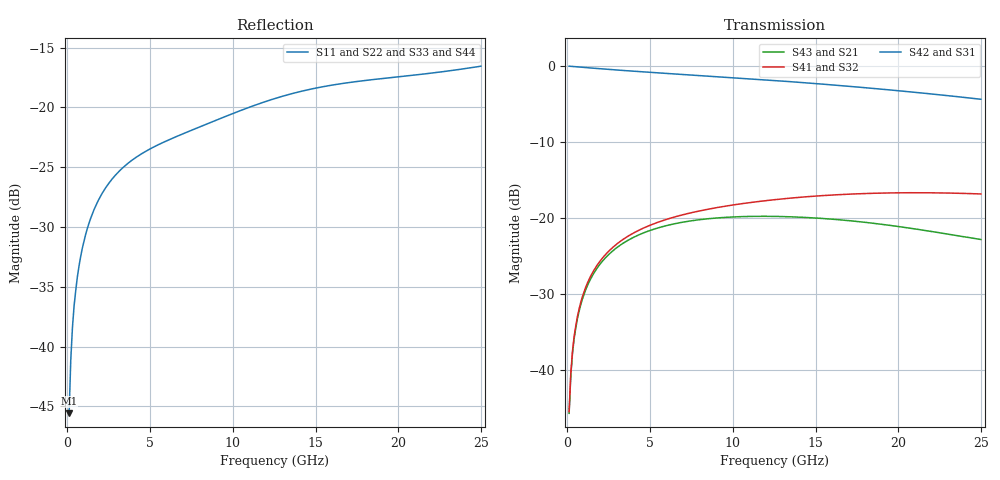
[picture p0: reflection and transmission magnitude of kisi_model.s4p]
! kisi E_s8_L1L8_p1000_oval_g0: fast channel model (formula impedances, via model), up to 25 GHz
# Hz S RI R 50
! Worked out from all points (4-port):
!   250 points, 100 MHz to 25 GHz, reference 50 ohm
!   strongest paths, dB at 100 MHz, 6.3 GHz, 12.6 GHz, 18.8 GHz, 25 GHz:
!     S42: 0.0, -1.0, -1.9, -3.0, -4.4
!     S31: 0.0, -1.0, -1.9, -3.0, -4.4
!     S41: -45.5, -20.0, -17.6, -16.8, -16.9
!     S32: -45.5, -20.0, -17.6, -16.8, -16.9
!     S43: -45.8, -20.9, -19.8, -20.8, -22.9
!     S21: -45.8, -20.9, -19.8, -20.8, -22.9
!   lowest |S11| = -45.6 dB at 100 MHz (marker M1), VSWR 1.01, Z = 50.3 + j0.445 ohm
!   |S11| at or under -10 dB: start of sweep to end of sweep
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1e8  0.00284 0.00443  0.00162 0.00489  0.9957 -0.043  -0.00163 -0.00503
     0.00162 0.00489  0.00284 0.00443  -0.00163 -0.00503  0.9957 -0.043
     0.9957 -0.043  -0.00163 -0.00503  0.00284 0.00443  0.00162 0.00489
     -0.00163 -0.00503  0.9957 -0.043  0.00162 0.00489  0.00284 0.00443
3.8e9  0.0428 -0.0412  0.0601 -0.0405  0.1122 -0.9199  -0.0657 0.0405
       0.0601 -0.0405  0.0428 -0.0412  -0.0657 0.0405  0.1122 -0.9199
       0.1122 -0.9199  -0.0657 0.0405  0.0428 -0.0412  0.0601 -0.0405
       -0.0657 0.0405  0.1122 -0.9199  0.0601 -0.0405  0.0428 -0.0412
7.8e9  -0.071 -0.0406  -0.0617 -0.0743  -0.8443 -0.1983  0.0641 0.0892
       -0.0617 -0.0743  -0.071 -0.0406  0.0641 0.0892  -0.8443 -0.1983
       -0.8443 -0.1983  0.0641 0.0892  -0.071 -0.0406  -0.0617 -0.0743
       0.0641 0.0892  -0.8443 -0.1983  -0.0617 -0.0743  -0.071 -0.0406
1.23e10  -0.0187 0.1059  -0.0631 0.0804  -0.135 0.7934  0.0884 -0.0964
         -0.0631 0.0804  -0.0187 0.1059  0.0884 -0.0964  -0.135 0.7934
         -0.135 0.7934  0.0884 -0.0964  -0.0187 0.1059  -0.0631 0.0804
         0.0884 -0.0964  -0.135 0.7934  -0.0631 0.0804  -0.0187 0.1059
1.68e10  0.1258 0.0116  0.0836 0.0476  0.7334 0.0804  -0.1221 -0.0739
         0.0836 0.0476  0.1258 0.0116  -0.1221 -0.0739  0.7334 0.0804
         0.7334 0.0804  -0.1221 -0.0739  0.1258 0.0116  0.0836 0.0476
         -0.1221 -0.0739  0.7334 0.0804  0.0836 0.0476  0.1258 0.0116
2.09e10  0.0358 -0.1314  0.0458 -0.0714  0.131 -0.6594  -0.07 0.1284
         0.0458 -0.0714  0.0358 -0.1314  -0.07 0.1284  0.131 -0.6594
         0.131 -0.6594  -0.07 0.1284  0.0358 -0.1314  0.0458 -0.0714
         -0.07 0.1284  0.131 -0.6594  0.0458 -0.0714  0.0358 -0.1314
2.5e10  -0.1317 -0.0688  -0.0561 -0.045  -0.5794 -0.1682  0.1291 0.0627
        -0.0561 -0.045  -0.1317 -0.0688  0.1291 0.0627  -0.5794 -0.1682
        -0.5794 -0.1682  0.1291 0.0627  -0.1317 -0.0688  -0.0561 -0.045
        0.1291 0.0627  -0.5794 -0.1682  -0.0561 -0.045  -0.1317 -0.0688
